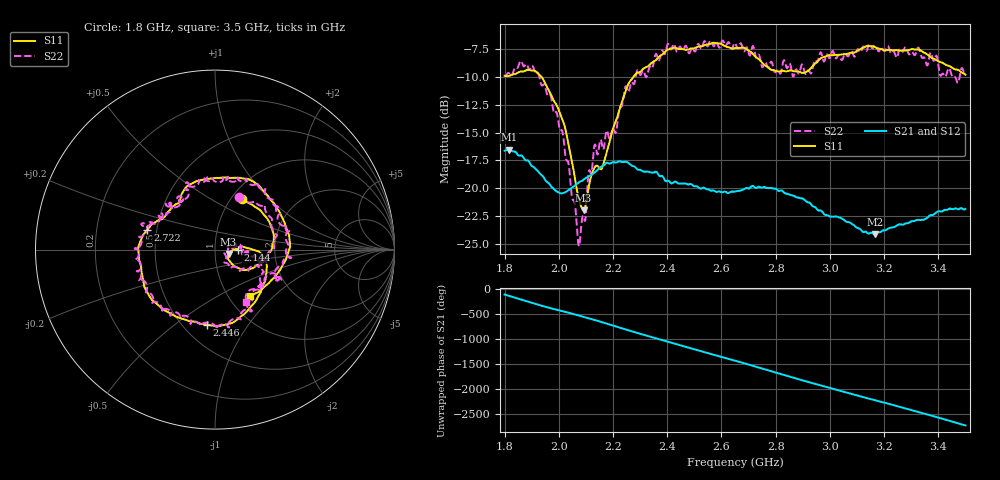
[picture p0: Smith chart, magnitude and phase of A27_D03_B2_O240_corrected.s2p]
! Created with skrf 1.9.0 (http://scikit-rf.org).
# Hz S RI R 50.0
!freq ReS11 ImS11 ReS21 ImS21 ReS12 ImS12 ReS22 ImS22
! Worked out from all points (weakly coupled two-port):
!   1601 points, 1.8 GHz to 3.5 GHz, reference 50 ohm
!   highest |S21| = -16.53 dB at 1.817 GHz (marker M1); lowest = -24.1 dB at 3.165 GHz (marker M2)
!   lowest |S11| = -22.0 dB at 2.091 GHz (marker M3), VSWR 1.17, Z = 58.1 - j2.92 ohm
!   |S11| at or under -10 dB: 1.936 GHz to 2.275 GHz (339.7 MHz wide, 16.1 % of centre)
!   |S22| runs from -25.2 to -6.7 dB; largest |S21 - S12| = 0.0026
!   S11 on the Smith chart (normalised r, x): 1.8 GHz: 1.12, +0.70; 2.144 GHz: 1.29, -0.00; 2.446 GHz: 0.65, -0.66; 2.722 GHz: 0.44, +0.12; 3.5 GHz: 1.26, -0.72
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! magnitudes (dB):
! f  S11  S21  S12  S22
! 1.8 GHz  -9.9  -16.6  -16.6  -9.9
! 1.817 GHz  -9.9  -16.5  -16.5  -9.7
! 1.903 GHz  -9.4  -18.0  -18.0  -9.0
! 1.968 GHz  -11.4  -19.7  -19.7  -11.6
! 2.015 GHz  -13.9  -20.4  -20.4  -15.0
! 2.072 GHz  -20.7  -19.5  -19.5  -25.0
! 2.084 GHz  -21.7  -19.3  -19.3  -23.1
! 2.091 GHz  -22.0  -19.2  -19.3  -22.5
! 2.112 GHz  -19.6  -18.9  -18.9  -18.4
! 2.144 GHz  -18.0  -18.3  -18.3  -16.9
! 2.209 GHz  -14.0  -17.7  -17.6  -15.0
! 2.259 GHz  -10.5  -17.8  -17.8  -11.3
! 2.367 GHz  -8.3  -18.8  -18.7  -8.5
! 2.446 GHz  -7.5  -19.6  -19.6  -7.3
! 2.65 GHz  -7.4  -20.3  -20.3  -7.0
! 2.722 GHz  -8.1  -19.9  -19.8  -7.7
! 2.803 GHz  -9.5  -20.1  -20.1  -9.5
! 2.934 GHz  -9.1  -21.5  -21.5  -9.5
! 3.165 GHz  -7.3  -24.1  -24.1  -7.2
! 3.217 GHz  -7.6  -23.6  -23.5  -7.4
! 3.469 GHz  -9.4  -21.8  -21.8  -10.4
! 3.5 GHz  -9.8  -21.8  -21.8  -9.4
